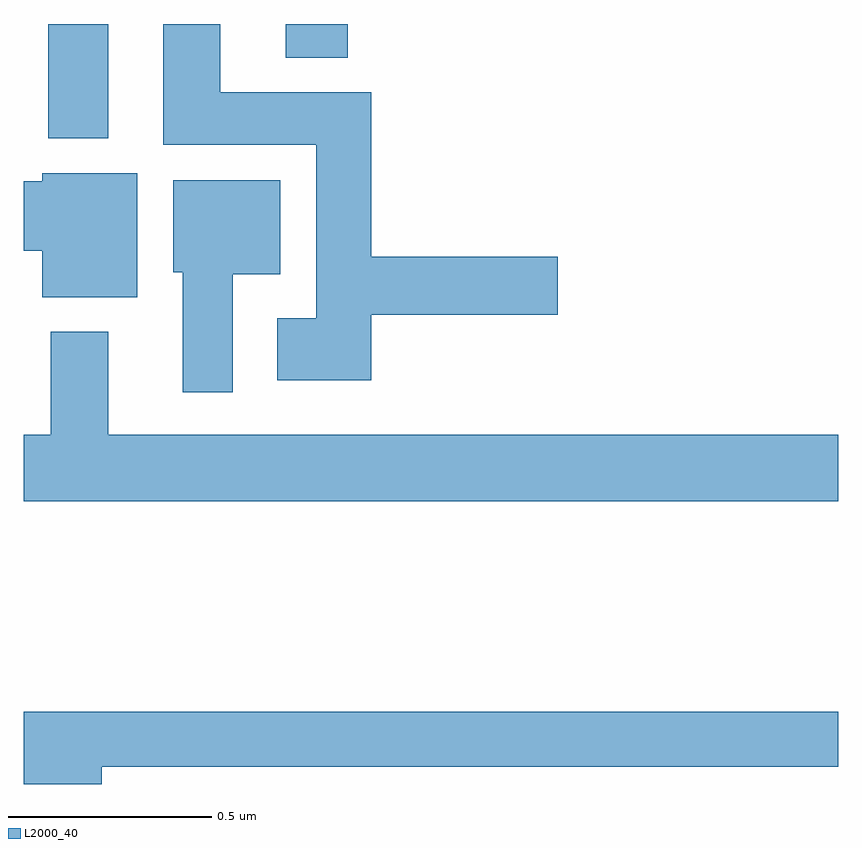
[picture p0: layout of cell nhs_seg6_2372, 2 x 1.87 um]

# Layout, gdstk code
import gdstk
lib = gdstk.Library(unit=1e-6, precision=1e-09)
def R(c, l, rs):  # rectangles x0, y0, x1, y1
    for r in rs: c.add(gdstk.rectangle(r[:2], r[2:], *l))
def P(c, l, *ps):  # polygons
    for p in ps: c.add(gdstk.Polygon(p, *l))
L2000_40 = (2000, 40)

nhs_seg6_2372 = lib.new_cell('nhs_seg6_2372')
R(nhs_seg6_2372, L2000_40, [(142.06,956.219,142.207,956.5), (142.643,956.417,142.796,956.5)])
P(nhs_seg6_2372, L2000_40, [(142.853,955.786),(143.311,955.786),(143.311,955.928),(142.853,955.928),(142.853,956.332),(142.483,956.332),(142.483,956.5),(142.343,956.5),(142.343,956.204),(142.718,956.204),(142.718,955.777),(142.623,955.777),(142.623,955.625),(142.853,955.625)],
  [(142.279,956.134),(142.046,956.134),(142.046,956.114),(142,956.114),(142,955.943),(142.046,955.943),(142.046,955.829),(142.279,955.829)],
  [(142.513,955.886),(142.63,955.886),(142.63,956.116),(142.367,956.116),(142.367,955.89),(142.391,955.89),(142.391,955.596),(142.513,955.596)],
  [(144,955.492),(142.207,955.492),(142.207,955.744),(142.067,955.744),(142.067,955.492),(142,955.492),(142,955.328),(144,955.328)],
  [(142.192,954.676),(144,954.676),(144,954.812),(142,954.812),(142,954.634),(142.192,954.634)])

lib.write_gds('nhs_seg6_2372.gds')
